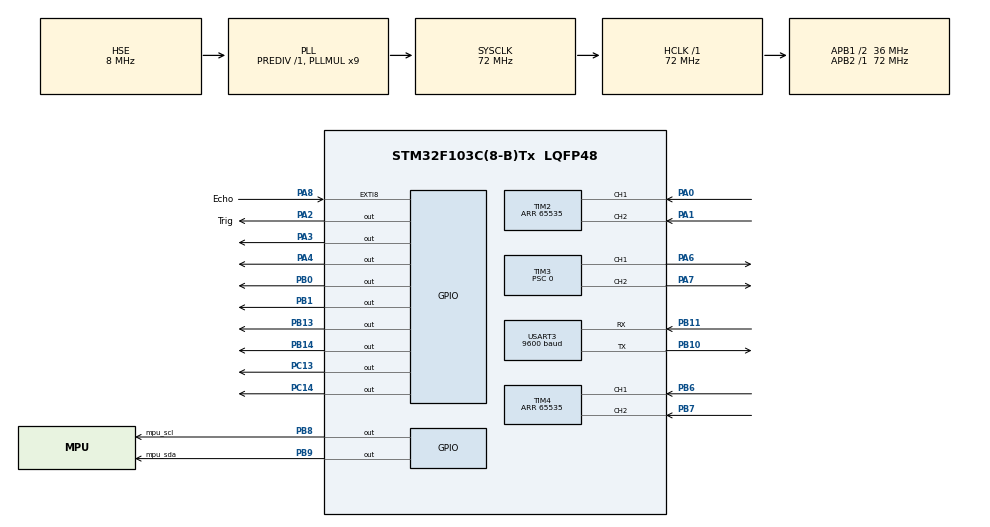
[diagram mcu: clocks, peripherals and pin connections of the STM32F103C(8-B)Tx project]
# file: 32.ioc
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Dma.Request0=USART3_RX
Dma.Request1=USART3_TX
Dma.USART3_RX.0.Direction=DMA_PERIPH_TO_MEMORY
Dma.USART3_RX.0.Instance=DMA1_Channel3
Dma.USART3_RX.0.MemDataAlignment=DMA_MDATAALIGN_BYTE
Dma.USART3_RX.0.MemInc=DMA_MINC_ENABLE
Dma.USART3_RX.0.Mode=DMA_NORMAL
Dma.USART3_RX.0.PeriphDataAlignment=DMA_PDATAALIGN_BYTE
Dma.USART3_RX.0.PeriphInc=DMA_PINC_DISABLE
Dma.USART3_RX.0.Priority=DMA_PRIORITY_LOW
Dma.USART3_TX.1.Direction=DMA_MEMORY_TO_PERIPH
Dma.USART3_TX.1.Instance=DMA1_Channel2
Dma.USART3_TX.1.MemDataAlignment=DMA_MDATAALIGN_BYTE
Dma.USART3_TX.1.MemInc=DMA_MINC_ENABLE
Dma.USART3_TX.1.Mode=DMA_NORMAL
Dma.USART3_TX.1.PeriphDataAlignment=DMA_PDATAALIGN_BYTE
Dma.USART3_TX.1.PeriphInc=DMA_PINC_DISABLE
Dma.USART3_TX.1.Priority=DMA_PRIORITY_LOW
FREERTOS.Tasks01=Task_200HZ,3,128,StartTask_200HZ,Default,NULL,Dynamic,NULL,NULL;Task_100HZ,2,128,StartTask_100HZ,Default,NULL,Dynamic,NULL,NULL;Task_5HZ,-3,128,StartTask_5HZ,Default,NULL,Dynamic,NULL,NULL;Task_Interactio,-3,128,StartTask_Interaction,Default,NULL,Dynamic,NULL,NULL;sw1_pwm_task,-3,128,Start_sw_1Task,Default,NULL,Dynamic,NULL,NULL
FREERTOS.configTOTAL_HEAP_SIZE=10000
Mcu.Family=STM32F1
Mcu.Name=STM32F103C(8-B)Tx
Mcu.Package=LQFP48
NVIC.DMA1_Channel2_IRQn=true\:6\:0\:true\:false\:true\:true\:false\:true
NVIC.DMA1_Channel3_IRQn=true\:6\:0\:true\:false\:true\:true\:false\:true
NVIC.EXTI9_5_IRQn=true\:10\:0\:true\:false\:true\:true\:true\:true
NVIC.PriorityGroup=NVIC_PRIORITYGROUP_4
NVIC.TIM1_UP_IRQn=true\:0\:0\:false\:false\:true\:false\:false\:true
NVIC.TIM3_IRQn=true\:5\:0\:true\:false\:true\:true\:true\:true
NVIC.TimeBase=TIM1_UP_IRQn
NVIC.TimeBaseIP=TIM1
NVIC.USART3_IRQn=true\:6\:0\:true\:false\:true\:true\:true\:true
PA0-WKUP.Signal=S_TIM2_CH1_ETR
PA1.Signal=S_TIM2_CH2
PA13.Mode=Serial_Wire
PA13.Signal=SYS_JTMS-SWDIO
PA14.Mode=Serial_Wire
PA14.Signal=SYS_JTCK-SWCLK
PA2.GPIO_Label=Trig
PA2.Signal=GPIO_Output
PA3.GPIO_ModeDefaultOutputPP=GPIO_MODE_OUTPUT_PP
PA3.PinState=GPIO_PIN_RESET
PA3.Signal=GPIO_Output
PA4.GPIO_ModeDefaultOutputPP=GPIO_MODE_OUTPUT_PP
PA4.Signal=GPIO_Output
PA6.Signal=S_TIM3_CH1
PA7.Signal=S_TIM3_CH2
PA8.GPIO_Label=Echo
PA8.GPIO_ModeDefaultEXTI=GPIO_MODE_IT_RISING_FALLING
PA8.Signal=GPXTI8
PB0.Signal=GPIO_Output
PB1.GPIO_ModeDefaultOutputPP=GPIO_MODE_OUTPUT_PP
PB1.Signal=GPIO_Output
PB10.Mode=Asynchronous
PB10.Signal=USART3_TX
PB11.Mode=Asynchronous
PB11.Signal=USART3_RX
PB13.Signal=GPIO_Output
PB14.Signal=GPIO_Output
PB6.Signal=S_TIM4_CH1
PB7.Signal=S_TIM4_CH2
PB8.GPIO_Label=mpu_scl
PB8.GPIO_PuPd=GPIO_PULLUP
PB8.PinState=GPIO_PIN_SET
PB8.Signal=GPIO_Output
PB9.GPIO_Label=mpu_sda
PB9.GPIO_PuPd=GPIO_PULLUP
PB9.PinState=GPIO_PIN_SET
PB9.Signal=GPIO_Output
PC13-TAMPER-RTC.Signal=GPIO_Output
PC14-OSC32_IN.Signal=GPIO_Output
PD0-OSC_IN.Mode=HSE-External-Oscillator
PD0-OSC_IN.Signal=RCC_OSC_IN
PD1-OSC_OUT.Mode=HSE-External-Oscillator
PD1-OSC_OUT.Signal=RCC_OSC_OUT
ProjectManager.HeapSize=0x200
ProjectManager.StackSize=0x400
ProjectManager.TargetToolchain=MDK-ARM V5
RCC.AHBFreq_Value=72000000
RCC.APB1CLKDivider=RCC_HCLK_DIV2
RCC.APB1Freq_Value=36000000
RCC.APB1TimFreq_Value=72000000
RCC.APB2Freq_Value=72000000
RCC.APB2TimFreq_Value=72000000
RCC.HCLKFreq_Value=72000000
RCC.PLLMUL=RCC_PLL_MUL9
RCC.PLLSourceVirtual=RCC_PLLSOURCE_HSE
RCC.SYSCLKFreq_VALUE=72000000
RCC.SYSCLKSource=RCC_SYSCLKSOURCE_PLLCLK
RCC.USBFreq_Value=72000000
SH.S_TIM2_CH1_ETR.0=TIM2_CH1,Encoder_Interface
SH.S_TIM2_CH2.0=TIM2_CH2,Encoder_Interface
SH.S_TIM3_CH1.0=TIM3_CH1,PWM Generation1 CH1
SH.S_TIM3_CH2.0=TIM3_CH2,PWM Generation2 CH2
SH.S_TIM4_CH1.0=TIM4_CH1,Encoder_Interface
SH.S_TIM4_CH2.0=TIM4_CH2,Encoder_Interface
TIM2.EncoderMode=TIM_ENCODERMODE_TI12
TIM2.Period=65535
TIM3.Channel-PWM\ Generation1\ CH1=TIM_CHANNEL_1
TIM3.Channel-PWM\ Generation2\ CH2=TIM_CHANNEL_2
TIM3.Channel-PWM\ Generation3\ No\ Output=TIM_CHANNEL_3
TIM3.Channel-PWM\ Generation4\ No\ Output=TIM_CHANNEL_4
TIM3.Period=8000-1
TIM3.Prescaler=0
TIM4.EncoderMode=TIM_ENCODERMODE_TI12
TIM4.Period=65535
USART3.BaudRate=9600
USART3.VirtualMode=VM_ASYNC
VP_FREERTOS_VS_CMSIS_V1.Mode=CMSIS_V1
VP_SYS_VS_tim1.Mode=TIM1
VP_TIM3_VS_no_output3.Mode=PWM Generation3 No Output
VP_TIM3_VS_no_output4.Mode=PWM Generation4 No Output
board=custom

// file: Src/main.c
/* USER CODE BEGIN Header */
/**
  ******************************************************************************
  * @file           : main.c
  * @brief          : Main program body
  ******************************************************************************
  * @attention
  *
  * <h2><center>&copy; Copyright (c) 2022 STMicroelectronics.
  * All rights reserved.</center></h2>
  *
  * This software component is licensed by ST under BSD 3-Clause license,
  * the "License"; You may not use this file except in compliance with the
  * License. You may obtain a copy of the License at:
  *                        opensource.org/licenses/BSD-3-Clause
  *
  ******************************************************************************
  */
/* USER CODE END Header */

/*更新时间：20230111 by会飞的摄影师吖*/

#include "main.h"
#include "cmsis_os.h"
#include "dma.h"
#include "tim.h"
#include "usart.h"
#include "gpio.h"

/* USER CODE BEGIN Includes */
#include "math.h"
#include "stdio.h"
#include "echo.h"
#include "delay.h"
#include "my_usart.h"
#include "contrl.h"
/* USER CODE END Includes */

/* USER CODE BEGIN PV */
double brightNess ;
short temp_mpu;
uint8_t buf[5];
/* USER CODE END PV */

void SystemClock_Config(void);
void MX_FREERTOS_Init(void);

/* USER CODE BEGIN 0 */
int fputc(int ch,FILE *fp)
{
    while(!(USART3->SR&(1<<7)));

    USART3->DR = ch;
    return ch;
}
/**
  * 函数功能: 重定向c库函数getchar,scanf到DEBUG_USARTx
  * 输入参数: 无
  * 返 回 值: 无
  * 说    明：无
  */
int fgetc(FILE *f)
{
    uint8_t ch = 0;
    HAL_UART_Receive(&huart3, &ch, 1, 0xffff);
    return ch;
}
/* USER CODE END 0 */

int main(void)
{

  /* MCU Configuration--------------------------------------------------------*/

  /* Reset of all peripherals, Initializes the Flash interface and the Systick. */
  HAL_Init();

  /* Configure the system clock */
  SystemClock_Config();

  /* Initialize all configured peripherals */
  MX_GPIO_Init();
  MX_DMA_Init();
  MX_TIM3_Init();
  MX_TIM2_Init();
  MX_USART3_UART_Init();
  MX_TIM4_Init();
  /* USER CODE BEGIN 2 */
    //	HAL_TIM_IC_Start_IT(&htim1, TIM_CHANNEL_4);//超声波中断
    printf("Hello,this is zbz's banlance car.\n");
		User_USART_Init(&BT_Data);
		// 加入DMA空闲中断
    HAL_UART_Receive_DMA(&huart3,BT_Data.RxBuffer,RXBUFFER_LEN);
		__HAL_UART_ENABLE_IT(&huart3,UART_IT_IDLE);//开启串口空闲中断

    __HAL_TIM_ENABLE_IT(&htim3, TIM_IT_UPDATE);
    HAL_TIM_PWM_Start (&htim3,TIM_CHANNEL_1);
    HAL_TIM_PWM_Start (&htim3,TIM_CHANNEL_2);
    HAL_TIM_PWM_Start_IT(&htim3,TIM_CHANNEL_3 );
    HAL_TIM_PWM_Start_IT (&htim3,TIM_CHANNEL_4 );
    HAL_TIM_Encoder_Start(&htim2, TIM_CHANNEL_ALL);//启动左编码器
    HAL_TIM_Encoder_Start(&htim4, TIM_CHANNEL_ALL);//启动右编码器

  /* USER CODE END 2 */

  /* Call init function for freertos objects (in freertos.c) */
  MX_FREERTOS_Init();
  /* Start scheduler */
  osKernelStart();

  /* We should never get here as control is now taken by the scheduler */
  /* Infinite loop */
  /* USER CODE BEGIN WHILE */
    while (1)
    {
		//Set_PWM(10,0);
//        if(normalspeed == 0)
//            dir = 1;
//        else if(normalspeed == maxspeed)
//            dir = 0;
//        if(dir ==1)
//            normalspeed++;
//        else
//            normalspeed--;
//				__HAL_TIM_SET_COMPARE(&htim3,TIM_CHANNEL_1,normalspeed );
//				__HAL_TIM_SET_COMPARE(&htim3,TIM_CHANNEL_2,normalspeed );
//				HAL_GPIO_WritePin(GPIOB,GPIO_PIN_0,GPIO_PIN_RESET);
//				HAL_GPIO_WritePin(GPIOB,GPIO_PIN_0,GPIO_PIN_RESET);
//
//				HAL_GPIO_WritePin(GPIOA,GPIO_PIN_3,GPIO_PIN_RESET);
//				HAL_GPIO_WritePin(GPIOA,GPIO_PIN_4,GPIO_PIN_RESET);
//        HAL_Delay(100);

    /* USER CODE END WHILE */

    }
}

void SystemClock_Config(void)
{
  RCC_OscInitTypeDef RCC_OscInitStruct = {0};
  RCC_ClkInitTypeDef RCC_ClkInitStruct = {0};

  /** Initializes the CPU, AHB and APB busses clocks
  */
  RCC_OscInitStruct.OscillatorType = RCC_OSCILLATORTYPE_HSE;
  RCC_OscInitStruct.HSEState = RCC_HSE_ON;
  RCC_OscInitStruct.HSEPredivValue = RCC_HSE_PREDIV_DIV1;
  RCC_OscInitStruct.HSIState = RCC_HSI_ON;
  RCC_OscInitStruct.PLL.PLLState = RCC_PLL_ON;
  RCC_OscInitStruct.PLL.PLLSource = RCC_PLLSOURCE_HSE;
  RCC_OscInitStruct.PLL.PLLMUL = RCC_PLL_MUL9;
  if (HAL_RCC_OscConfig(&RCC_OscInitStruct) != HAL_OK)
  {
    Error_Handler();
  }
  /** Initializes the CPU, AHB and APB busses clocks
  */
  RCC_ClkInitStruct.ClockType = RCC_CLOCKTYPE_HCLK|RCC_CLOCKTYPE_SYSCLK
                              |RCC_CLOCKTYPE_PCLK1|RCC_CLOCKTYPE_PCLK2;
  RCC_ClkInitStruct.SYSCLKSource = RCC_SYSCLKSOURCE_PLLCLK;
  RCC_ClkInitStruct.AHBCLKDivider = RCC_SYSCLK_DIV1;
  RCC_ClkInitStruct.APB1CLKDivider = RCC_HCLK_DIV2;
  RCC_ClkInitStruct.APB2CLKDivider = RCC_HCLK_DIV1;

  if (HAL_RCC_ClockConfig(&RCC_ClkInitStruct, FLASH_LATENCY_2) != HAL_OK)
  {
    Error_Handler();
  }
}

/* USER CODE BEGIN 4 */
void HAL_TIM_PWM_PulseFinishedCallback(TIM_HandleTypeDef *htim)
{
    if(htim->Channel == HAL_TIM_ACTIVE_CHANNEL_3)
    {

        GPIOA->BRR = GPIO_PIN_3;
    } else if(htim->Channel == HAL_TIM_ACTIVE_CHANNEL_4)
    {
        GPIOA->BRR = GPIO_PIN_4;
    }

}

/* USER CODE END 4 */

 /**
  * @brief  Period elapsed callback in non blocking mode
  * @note   This function is called  when TIM1 interrupt took place, inside
  * HAL_TIM_IRQHandler(). It makes a direct call to HAL_IncTick() to increment
  * a global variable "uwTick" used as application time base.
  * @param  htim : TIM handle
  * @retval None
  */
void HAL_TIM_PeriodElapsedCallback(TIM_HandleTypeDef *htim)
{
  /* USER CODE BEGIN Callback 0 */
    if(TIM3->CCR3 != 0)
        GPIOA->BSRR = GPIO_PIN_3;
    if(TIM3->CCR4 != 0)
        GPIOA->BSRR = GPIO_PIN_4;
  /* USER CODE END Callback 0 */
  if (htim->Instance == TIM1) {
    HAL_IncTick();
  }
}

void Error_Handler(void)
{
}

/************************ (C) COPYRIGHT STMicroelectronics *****END OF FILE****/

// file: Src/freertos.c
/* USER CODE BEGIN Header */
/**
  ******************************************************************************
  * File Name          : freertos.c
  * Description        : Code for freertos applications
  ******************************************************************************
  * @attention
  *
  * <h2><center>&copy; Copyright (c) 2022 STMicroelectronics.
  * All rights reserved.</center></h2>
  *
  * This software component is licensed by ST under Ultimate Liberty license
  * SLA0044, the "License"; You may not use this file except in compliance with
  * the License. You may obtain a copy of the License at:
  *                             www.st.com/SLA0044
  *
  ******************************************************************************
  */
/* USER CODE END Header */

#include "FreeRTOS.h"
#include "task.h"
#include "main.h"
#include "cmsis_os.h"

/* USER CODE BEGIN Includes */
#include "stdio.h"
#include "echo.h"
#include "mpu6050.h"
#include "CAR_TASK.h"
#include "inv_mpu.h"
#include "tim.h"
#include "dma.h"
#include "oled.h"
#include "CAR_TASK.h"
/* USER CODE END Includes */

/* USER CODE BEGIN Variables */
int task_flag = 0;//�����ɼ������Ƿ�ʼ��� 0�����ڳ�ʼ����1Ϊ��ʼ
/* USER CODE END Variables */
osThreadId Task_200HZHandle;
osThreadId Task_100HZHandle;
osThreadId Task_5HZHandle;
osThreadId Task_InteractioHandle;
osThreadId sw1_pwm_taskHandle;

void StartTask_200HZ(void const * argument);
void StartTask_100HZ(void const * argument);
void StartTask_5HZ(void const * argument);
void StartTask_Interaction(void const * argument);
void Start_sw_1Task(void const * argument);

void MX_FREERTOS_Init(void); /* (MISRA C 2004 rule 8.1) */

/* GetIdleTaskMemory prototype (linked to static allocation support) */
void vApplicationGetIdleTaskMemory( StaticTask_t **ppxIdleTaskTCBBuffer, StackType_t **ppxIdleTaskStackBuffer, uint32_t *pulIdleTaskStackSize );

/* USER CODE BEGIN GET_IDLE_TASK_MEMORY */
static StaticTask_t xIdleTaskTCBBuffer;
static StackType_t xIdleStack[configMINIMAL_STACK_SIZE];

void vApplicationGetIdleTaskMemory( StaticTask_t **ppxIdleTaskTCBBuffer, StackType_t **ppxIdleTaskStackBuffer, uint32_t *pulIdleTaskStackSize )
{
    *ppxIdleTaskTCBBuffer = &xIdleTaskTCBBuffer;
    *ppxIdleTaskStackBuffer = &xIdleStack[0];
    *pulIdleTaskStackSize = configMINIMAL_STACK_SIZE;
    /* place for user code */
}
/* USER CODE END GET_IDLE_TASK_MEMORY */

void MX_FREERTOS_Init(void) {

  /* Create the thread(s) */
  /* definition and creation of Task_200HZ */
  osThreadDef(Task_200HZ, StartTask_200HZ, osPriorityRealtime, 0, 128);
  Task_200HZHandle = osThreadCreate(osThread(Task_200HZ), NULL);

  /* definition and creation of Task_100HZ */
  osThreadDef(Task_100HZ, StartTask_100HZ, osPriorityHigh, 0, 128);
  Task_100HZHandle = osThreadCreate(osThread(Task_100HZ), NULL);

  /* definition and creation of Task_5HZ */
  osThreadDef(Task_5HZ, StartTask_5HZ, osPriorityIdle, 0, 128);
  Task_5HZHandle = osThreadCreate(osThread(Task_5HZ), NULL);

  /* definition and creation of Task_Interactio */
  osThreadDef(Task_Interactio, StartTask_Interaction, osPriorityIdle, 0, 128);
  Task_InteractioHandle = osThreadCreate(osThread(Task_Interactio), NULL);

  /* definition and creation of sw1_pwm_task */
  osThreadDef(sw1_pwm_task, Start_sw_1Task, osPriorityIdle, 0, 128);
  sw1_pwm_taskHandle = osThreadCreate(osThread(sw1_pwm_task), NULL);

}

void StartTask_200HZ(void const * argument)
{
  /* USER CODE BEGIN StartTask_200HZ */

		vTaskSuspendAll() ;

		OLED_Init();
	  OLED_CLS();
		OLED_ShowStr (1,1,"mpu init--",2);
    while(mpu_dmp_init()) {}
		OLED_ShowStr (1,3,"mpu ok",2);
		printf("200HZ start\n");
		delay_ms(50);
		OLED_ShowStr (1,3,"HF start",2);
		delay_ms(200);
		OLED_CLS();
		OLED_ShowStr (1,1,"powered by",2);
		OLED_ShowStr (35,3,"HF",2);
		delay_ms(500);
		task_flag = 1;

		xTaskResumeAll() ;

    /* Infinite loop */
    for(;;)
    {
			//vTaskSuspendAll() ;//�ٽ���뱣����ʼ
			Car_Task_200HZ();
			//xTaskResumeAll() ; //�ٽ���뱣������

      osDelay(5);
    }
  /* USER CODE END StartTask_200HZ */
}

void StartTask_100HZ(void const * argument)
{
  /* USER CODE BEGIN StartTask_100HZ */
	while(task_flag == 0 ){}//�Ȼ����ɼ�����ʼ
    printf("100HZ start\n");
    /* Infinite loop */
    for(;;)
    {
        Car_Task_100HZ();
        osDelay(10);
    }
  /* USER CODE END StartTask_100HZ */
}

void StartTask_5HZ(void const * argument)
{
  /* USER CODE BEGIN StartTask_5HZ */
    //printf("5HZ start\n");

    /* Infinite loop */
    for(;;)
    {

       Car_Task_5HZ();
        osDelay(100);//ʵ������Ƶ��10hz

    }
  /* USER CODE END StartTask_5HZ */
}

void StartTask_Interaction(void const * argument)
{
  /* USER CODE BEGIN StartTask_Interaction */
		vTaskSuspendAll() ;//�ٽ���뱣����ʼ
    printf("Interaction start\n");
		xTaskResumeAll() ; //�ٽ���뱣������
    //HAL_StatusTypeDef HAL_UART_Receive_DMA(&huart3, uint8_t *pData, 255);
    /* Infinite loop */
    for(;;)
    {
			vTaskSuspendAll() ;//�ٽ���뱣����ʼ
			Car_Task_Interaction();
			xTaskResumeAll() ; //�ٽ���뱣������
        osDelay(200);
    }
  /* USER CODE END StartTask_Interaction */
}

void Start_sw_1Task(void const * argument)
{
  /* USER CODE BEGIN Start_sw_1Task */
    /* Infinite loop */
    for(;;)
    {
        HAL_GPIO_WritePin(GPIOC,GPIO_PIN_13,GPIO_PIN_SET);
			HAL_GPIO_WritePin(GPIOC,GPIO_PIN_14,GPIO_PIN_SET);
        osDelay(100);
        HAL_GPIO_WritePin(GPIOC,GPIO_PIN_13,GPIO_PIN_RESET);
			HAL_GPIO_WritePin(GPIOC,GPIO_PIN_14,GPIO_PIN_RESET);
        osDelay(200);
        HAL_GPIO_WritePin(GPIOC,GPIO_PIN_13,GPIO_PIN_SET);
			HAL_GPIO_WritePin(GPIOC,GPIO_PIN_14,GPIO_PIN_SET);
        osDelay(200);
        HAL_GPIO_WritePin(GPIOC,GPIO_PIN_13,GPIO_PIN_RESET);
			 HAL_GPIO_WritePin(GPIOC,GPIO_PIN_14,GPIO_PIN_RESET);
        osDelay(1000);
    }
  /* USER CODE END Start_sw_1Task */
}

/************************ (C) COPYRIGHT STMicroelectronics *****END OF FILE****/
